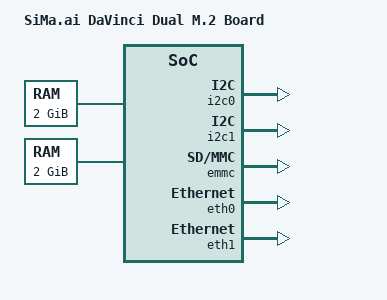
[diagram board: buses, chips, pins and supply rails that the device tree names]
// SPDX-License-Identifier: (GPL-2.0+ OR MIT)
/*
 * Copyright (c) 2023 SiMa ai
 */

/dts-v1/;

#include "simaai-davinci-h.dtsi"


/ {
	model = "SiMa.ai DaVinci Dual M.2 Board";

	chosen {
		bootargs = "console=ttyS0,115200n8 root=/dev/ram0 rw rootfstype=ramfs";
	};

	aliases {
		ethernet0 = &eth0;
		ethernet1 = &eth1;
		mmc0 = &emmc;
		console   = &uart0;
	};

	memory@80000000 {
		device_type = "memory";
		reg = <0x0 0x80000000 0x0 0x80000000>;
	};

	memory@180000000 {
		device_type = "memory";
		reg = <0x1 0x80000000 0x0 0x80000000>;
	};
};

&i2c0 {
	status = "okay";
};

&i2c1 {
	status = "okay";
};

&emmc {
	status = "okay";
};

&eth0 {
	status = "okay";
};

&eth1 {
	status = "okay";
};

&pcie_ep {
	status = "okay";
};

